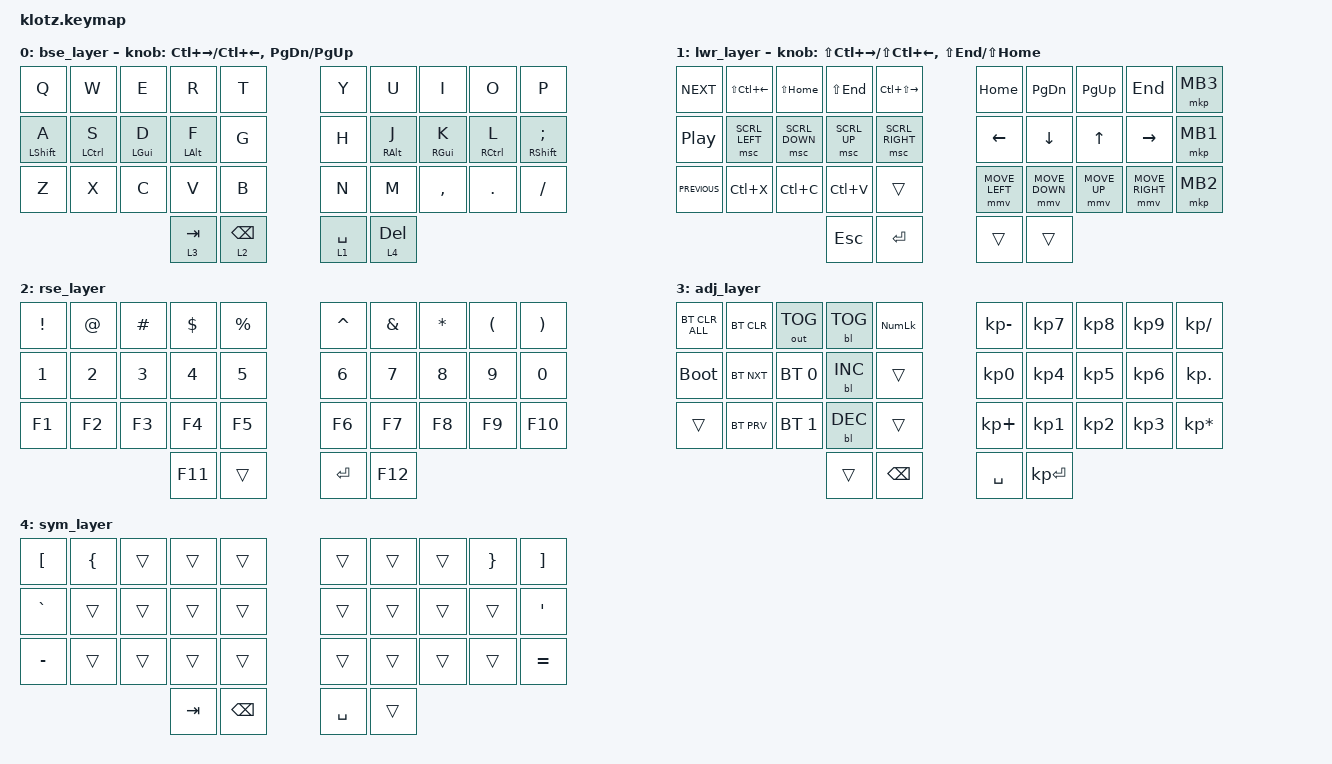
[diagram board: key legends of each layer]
 
//                                      █        █ █      ▄▀            ▀▄      █         █
//                                      █       █  █    ▄▀                ▀▄    █        █
//                                      █      █   █   █                    █   █       █
//                                      █     █    █   █                    █   █      █
//                                      █    █     █   █                    █   █  ▀▀▀█▀▀▀▀
//                                      █   █ █    █   █                    █   █    █
//                                      █  █   █   █   █                    █   █   █
//                                      █ █     █  █    ▀▄                ▄▀    █  █
//                                      ██       █ █      ▀▄            ▄▀      █ █
//                                      █         ██▄▄▄▄▄▄▄▄█▄▄▄▄▄▄▄▄▄▄▀        ██▄▄▄▄▄▄▄▄▄▄
//
//
//
// ▄▄▄▄▄▄▄▄▄▄▄▄▄▄▄▄▄▄▄▄▄▄▄▄▄▄▄▄▄▄▄▄▄▄▄▄▄▄▄▄▄▄▄▄▄▄▄▄▄▄▄▄▄▄▄▄▄▄▄▄▄▄▄▄▄▄▄▄▄▄▄▄▄▄▄▄▄▄▄▄▄▄▄▄▄▄▄▄▄▄▄▄▄▄▄▄▄▄▄▄▄▄▄▄▄▄▄▄▄▄▄▄▄▄▄▄▄▄▄▄▄▄▄▄▄

#include <dt-bindings/zmk/mouse.h>
#include <behaviors.dtsi>
#include <dt-bindings/zmk/backlight.h>
#include <dt-bindings/zmk/bt.h>
#include <dt-bindings/zmk/keys.h>
#include <dt-bindings/zmk/outputs.h>
#include <dt-bindings/zmk/pointing.h>

#define BSE 0
#define LWR 1
#define RSE 2
#define ADJ 3
#define SYM 4
#define ZMK_MOUSE_DEFAULT_MOVE_VAL 1500  // 600
#define ZMK_MOUSE_DEFAULT_SCRL_VAL 5     // 10

// mouse movement

&mmv {
    acceleration-exponent = <1>;      // 1
    time-to-max-speed-ms = <500>;     // 300
    delay-ms = <0>;                   // 0
};

&mt {
    flavor = "tap-preferred";
    tapping-term-ms = <200>;
    quick-tap-ms = <170>;
    require-prior-idle-ms = <30>;
};

&lt {
    quick-tap-ms = <250>; // This allows the tapped key to be repeated.
    tapping-term-ms = <250>;
    flavor = "tap-preferred";
    require-prior-idle-ms = <125>;
};

/ {
    combos {
        compatible = "zmk,combos";

        combo_backslash {
            bindings = <&kp BACKSLASH>;
            key-positions = <29 28>;
            timeout-ms = <50>;
        };

        combo_esc {
            bindings = <&kp ESC>;
            key-positions = <0 1>;
            timeout-ms = <50>;
        };

        combo_minus {
            bindings = <&kp MINUS>;
            key-positions = <20 21>;
            timeout-ms = <50>;
        };

        combo_quote {
            bindings = <&kp SINGLE_QUOTE>;
            key-positions = <18 19>;
            timeout-ms = <50>;
        };
    };

    behaviors {
        // Create custom behavior that is similar to the global `&mt`
        // configuration, but sets longer `tapping-term-ms`. This makes
        // it more difficult to trigger the hold behavior.
    };

    keymap {
        compatible = "zmk,keymap";

        bse_layer {
            bindings = <
&kp Q             &kp W        &kp E           &kp R           &kp T            &kp Y        &kp U            &kp I            &kp O                &kp P
&mt LEFT_SHIFT A  &mt LCTRL S  &mt LEFT_GUI D  &mt LEFT_ALT F  &kp G            &kp H        &mt RIGHT_ALT J  &mt RIGHT_GUI K  &mt RIGHT_CONTROL L  &mt RIGHT_SHIFT SEMICOLON
&kp Z             &kp X        &kp C           &kp V           &kp B            &kp N        &kp M            &kp COMMA        &kp DOT              &kp FSLH
                                               &lt 3 TAB       &lt 2 BACKSPACE  &lt 1 SPACE  &lt 4 DELETE
            >;

            sensor-bindings = <&inc_dec_kp LC(RIGHT_ARROW) LC(LEFT_ARROW) &inc_dec_kp PAGE_DOWN PAGE_UP>;
        };


        lwr_layer {
            bindings = <
&kp C_NEXT        &kp LS(LC(LEFT))  &kp LS(HOME)    &kp LS(END)   &kp LC(LS(RIGHT))  &kp HOME        &kp PAGE_DOWN   &kp PG_UP     &kp END          &mkp MB3
&kp C_PLAY_PAUSE  &msc SCRL_LEFT    &msc SCRL_DOWN  &msc SCRL_UP  &msc SCRL_RIGHT    &kp LEFT_ARROW  &kp DOWN_ARROW  &kp UP_ARROW  &kp RIGHT_ARROW  &mkp MB1
&kp C_PREVIOUS    &kp LC(X)         &kp LC(C)       &kp LC(V)     &trans             &mmv MOVE_LEFT  &mmv MOVE_DOWN  &mmv MOVE_UP  &mmv MOVE_RIGHT  &mkp MB2
                                                    &kp ESCAPE    &kp ENTER          &trans          &trans
            >;

            sensor-bindings = <&inc_dec_kp LS(LC(RIGHT_ARROW)) LS(LC(LEFT_ARROW)) &inc_dec_kp LS(END) LS(HOME)>;
        };


        rse_layer {
            bindings = <
&kp EXCLAMATION  &kp AT_SIGN  &kp HASH  &kp DOLLAR  &kp PERCENT  &kp CARET  &kp AMPERSAND  &kp ASTERISK  &kp LEFT_PARENTHESIS  &kp RIGHT_PARENTHESIS
&kp N1           &kp N2       &kp N3    &kp N4      &kp N5       &kp N6     &kp N7         &kp N8        &kp N9                &kp N0
&kp F1           &kp F2       &kp F3    &kp F4      &kp F5       &kp F6     &kp F7         &kp F8        &kp F9                &kp F10
                                        &kp F11     &trans       &kp ENTER  &kp F12
            >;
        };


        adj_layer {
            bindings = <
&bt BT_CLR_ALL  &bt BT_CLR  &out OUT_TOG  &bl BL_TOG  &kp KP_NUMLOCK &kp KP_MINUS     &kp KP_NUMBER_7  &kp KP_NUMBER_8  &kp KP_NUMBER_9  &kp KP_SLASH
&bootloader     &bt BT_NXT  &bt BT_SEL 0  &bl BL_INC  &trans         &kp KP_NUMBER_0  &kp KP_NUMBER_4  &kp KP_NUMBER_5  &kp KP_NUMBER_6  &kp KP_DOT
&trans          &bt BT_PRV  &bt BT_SEL 1  &bl BL_DEC  &trans         &kp KP_PLUS      &kp KP_NUMBER_1  &kp KP_NUMBER_2  &kp KP_NUMBER_3  &kp KP_ASTERISK
                                          &trans      &kp BACKSPACE  &kp SPACE        &kp KP_ENTER
            >;
        };


        sym_layer {
            bindings = <
&kp LEFT_BRACKET  &kp LEFT_BRACE  &trans  &trans   &trans         &trans     &trans  &trans  &kp RIGHT_BRACE    &kp RIGHT_BRACKET
&kp GRAVE         &trans          &trans  &trans   &trans         &trans     &trans  &trans  &trans             &kp SINGLE_QUOTE
&kp MINUS         &trans          &trans  &trans   &trans         &trans     &trans  &trans  &trans             &kp EQUAL
                                          &kp TAB  &kp BACKSPACE  &kp SPACE  &trans
            >;
        };
    };
 };
